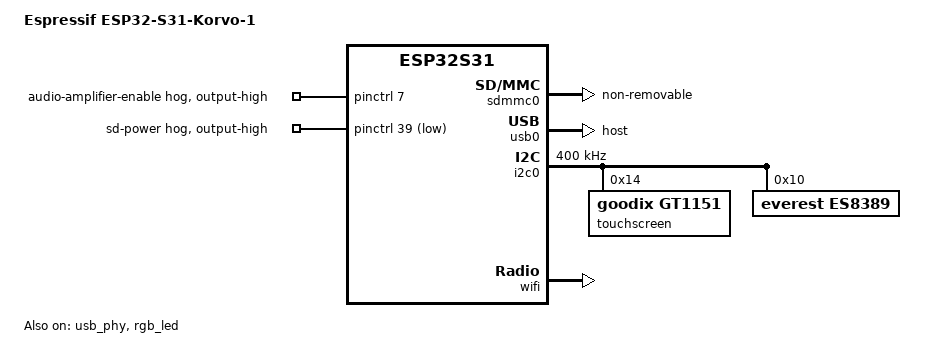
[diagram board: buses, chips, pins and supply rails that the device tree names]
// SPDX-License-Identifier: GPL-2.0+
/*
 * ESP32-S31-Korvo-1: 800x480 RGB panel, microSD slot, USB 2.0 host port
 * and a WS2812 RGB LED.
 * Author: Marco Müller <hello@annoyedmilk.ch>
 */
/dts-v1/;
#include "esp32s31.dtsi"
#include <dt-bindings/gpio/gpio.h>

/ {
	model = "Espressif ESP32-S31-Korvo-1";
	compatible = "esp,esp32s31-korvo-1", "esp,esp32s31";

	reserved-memory {
		/* Cached LVGL DIRECT canvas. Keep the normal RAM mapping for DMA
		 * cache maintenance, but exclude these pages from the allocator.
		 */
		ppa_canvas: ppa-canvas@50db8000 {
			reg = <0x50db8000 0x0c0000>;
		};
		/* The LCD DMA reads it after the handoff, uncached (PMA). */
		fb_region: framebuffer@50f40000 {
			reg = <0x50f40000 0xc0000>;
			no-map;
		};
		lcd_descriptors: lcd-descriptors@2f079000 {
			reg = <0x2f079000 0x0c00>;
			no-map;
		};
		camera_descriptors: camera-descriptors@2f079c00 {
			reg = <0x2f079c00 0x0200>;
			no-map;
		};
		ppa_descriptors: ppa-descriptors@2f079e00 {
			reg = <0x2f079e00 0x0200>;
			no-map;
		};
	};

	ppa@20345000 {
		compatible = "espressif,esp32s31-ppa";
		reg = <0x20345000 0x1000>, <0x20346000 0x1000>;
		reg-names = "ppa", "dma2d";
		interrupt-parent = <&clic>;
		interrupts = <41 105 IRQ_TYPE_LEVEL_HIGH>;
		memory-region = <&ppa_descriptors>;
		espressif,canvas-memory = <&ppa_canvas>;
		dma-noncoherent;
	};

	chosen {
		stdout-path = "serial0:115200n8";

		/* The panel of the loader; blank with USB Serial/JTAG on. */
		framebuffer {
			status = "disabled";
			compatible = "simple-framebuffer";
			width = <800>;
			height = <480>;
			stride = <(800 * 2)>;
			format = "r5g6b5";
			memory-region = <&fb_region>;
		};
	};
};

/* No card-detect or write-protect contact, and the root is on the card. */
&sdmmc0 {
	pinctrl-names = "default";
	pinctrl-0 = <&sd_cfg>;
	non-removable;
	status = "okay";
};

/* The Type-A port: host only, with a TPS2051C switch for VBUS. */
&usb_phy { status = "okay"; };

&usb0 {
	dr_mode = "host";
	disable-over-current;
	status = "okay";
};

/* WS2812 RGB LED on GPIO37. */
&rgb_led {
	pinctrl-names = "default";
	pinctrl-0 = <&led_cfg>;
	status = "okay";
};

/* The LCD (loader), the card and LED (drivers), the flash, GPIO41, UART0. */
&pinctrl {
	gpio-reserved-ranges = <8 30>, <40 2>, <43 3>, <58 2>;
	/* The nets of the Korvo-1 user guide; the flash pins of the module. */
	gpio-line-names =
		/*  0 */ "I2C_SDA", "I2C_SCL", "I2S_MCLK", "I2S_SCLK",
		/*  4 */ "I2S_LRCLK", "I2S_SDOUT", "I2S_DSIN", "PA_CTRL",
		/*  8 */ "DB0", "DB1", "DB2", "DB3", "DB4", "DB5", "DB6",
		/* 15 */ "DB7", "DB8", "DB9", "DB10", "DB11", "SDIO_DATA0",
		/* 21 */ "SDIO_DATA1", "SDIO_DATA2", "SDIO_DATA3", "SDIO_CLK",
		/* 25 */ "SDIO_CMD", "SPICS", "SPIQ", "SPIWP", "", "SPIHD",
		/* 31 */ "SPICLK", "SPID", "DB12", "DB13", "DB14", "DB15",
		/* 37 */ "WS2812_CTRL", "LCD_CS", "SD_CTRL", "LCD_PCLK", "",
		/* 42 */ "ADC_BUTTON", "LCD_H_EN", "LCD_H_SYNC", "LCD_V_SYNC",
		/* 46 */ "CAM_D0", "CAM_D1", "CAM_D2", "CAM_D3", "CAM_D4",
		/* 51 */ "CAM_D5", "CAM_D6", "CAM_D7", "CAM_PCLK", "CAM_XCLK",
		/* 56 */ "CAM_V_SYNC", "CAM_H_SYNC", "U0TXD", "U0RXD",
		/* 60 */ "LCD_MOSI", "LCD_SCK";

	/* The ES8389 feeds the two onboard NS4150B speaker amplifiers. */
	audio-amplifier-hog {
		gpio-hog;
		gpios = <7 GPIO_ACTIVE_HIGH>;
		output-high;
		line-name = "audio-amplifier-enable";
	};

	/* GPIO39 low switches the power of the microSD slot on. */
	sd-power-hog {
		gpio-hog;
		gpios = <39 GPIO_ACTIVE_LOW>;
		output-high;
		line-name = "sd-power";
	};

	/* The SD host on its IO MUX pins, function 4 */
	sd_cfg: sd-cfg {
		sd-clk-pins {
			pinmux = <ESP32S31_IOMUX(24, 4)>;
			bias-disable;
			input-enable;
			drive-strength = <40>;
		};

		sd-cmd-data-pins {
			pinmux = <ESP32S31_IOMUX(20, 4)>,	/* D0 */
				 <ESP32S31_IOMUX(21, 4)>,	/* D1 */
				 <ESP32S31_IOMUX(22, 4)>,	/* D2 */
				 <ESP32S31_IOMUX(23, 4)>,	/* D3 */
				 <ESP32S31_IOMUX(25, 4)>;	/* CMD */
			bias-pull-up;
			input-enable;
			drive-strength = <40>;
		};
	};

	led_cfg: led-cfg {
		led-pins {
			pinmux = <ESP32S31_MATRIX_OUT(37, ESP32S31_SIG_RMT_OUT0)>;
		};
	};

	i2c0_cfg: i2c0-cfg {
		i2c0-pins {
			pinmux = <ESP32S31_MATRIX_INOUT(0, ESP32S31_SIG_I2C0_SDA)>,
				 <ESP32S31_MATRIX_INOUT(1, ESP32S31_SIG_I2C0_SCL)>;
			bias-pull-up;
			drive-open-drain;
		};
	};
};

/* ES8389 codec at 0x10, GT1151 touch at 0x14 (no INT line: polled). */
&i2c0 {
	pinctrl-names = "default";
	pinctrl-0 = <&i2c0_cfg>;
	clock-frequency = <400000>;
	status = "okay";

	touchscreen@14 {
		compatible = "goodix,gt1151";
		reg = <0x14>;
		touchscreen-size-x = <800>;
		touchscreen-size-y = <480>;
	};
};

/* Read-only squashfs and persistent UBIFS overlay, relative to the shared
 * flash MTD exported by Hart 0; these sizes match partitions-korvo1.csv. */
&wifi {
	flash {
		partitions {
			compatible = "fixed-partitions";
			#address-cells = <1>;
			#size-cells = <1>;

			partition@0 {
				label = "rootfs";
				reg = <0x0 0x007D0000>;
				read-only;
			};

			partition@7d0000 {
				label = "data";
				reg = <0x007D0000 0x00160000>;
			};
		};
	};
};

&i2s0 {
	pinctrl-0 = <&korvo_i2s_playback>;
	pinctrl-1 = <&korvo_i2s_capture>;
};

&pinctrl {
	korvo_i2s_playback: korvo-i2s-playback {
		i2s-pins {
			pinmux = <ESP32S31_MATRIX_OUT(3, 25)>,
				 <ESP32S31_MATRIX_OUT(4, 27)>,
				 <ESP32S31_MATRIX_OUT(5, 28)>;
			drive-strength = <20>;
		};
	};

	korvo_i2s_capture: korvo-i2s-capture {
		i2s-pins {
			pinmux = <ESP32S31_MATRIX_OUT(3, 25)>,
				 <ESP32S31_MATRIX_OUT(4, 27)>,
				 <ESP32S31_MATRIX_IN(6, 28)>;
			drive-strength = <20>;
			bias-pull-up;
			input-enable;
		};
	};
};





/* The schematic labels the codec's 8-bit I2C address as 0x20; Linux uses
 * the corresponding 7-bit address 0x10. The ES8389 has no reset GPIO wired. */
&i2c0 {
	es8389: codec@10 {
		compatible = "everest,es8389";
		reg = <0x10>;
		everest,mclk-src = /bits/ 8 <1>;
		#sound-dai-cells = <0>;
	};
};


/ {
	sound {
		compatible = "simple-audio-card";
		simple-audio-card,name = "Korvo-1 ES8389";
		simple-audio-card,format = "i2s";
		simple-audio-card,bitclock-master = <&sound_cpu>;
		simple-audio-card,frame-master = <&sound_cpu>;
		simple-audio-card,widgets = "Speaker", "Speaker", "Microphone", "Mic";
		simple-audio-card,routing = "Speaker", "HPOL", "Speaker", "HPOR",
					  "INPUT1", "Mic", "INPUT2", "Mic";

		sound_cpu: simple-audio-card,cpu {
			sound-dai = <&i2s0>;
		};

		simple-audio-card,codec {
			sound-dai = <&es8389>;
		};
	};

	camera {
		compatible = "espressif,korvo1-ov3660";
		/* Camera-only registers and AXI GDMA RX1; LCD TX0 is untouched. */
		reg = <0x20396004 0x0c>, <0x20348068 0x68>, <0x20587158 0x04>;
		i2c-bus = <&i2c0>;
		memory-region = <&camera_descriptors>;
		pinctrl-names = "default";
		pinctrl-0 = <&korvo_camera_pins>;
	};

	display@20396000 {
		compatible = "espressif,esp32s31-korvo1-rgb";
		reg = <0x20396000 0x44>, <0x20348138 0x68>, <0x20587000 0x160>;
		memory-region = <&fb_region>, <&lcd_descriptors>;
		enable-gpios = <&pinctrl 38 GPIO_ACTIVE_HIGH>;
		pinctrl-names = "default";
		pinctrl-0 = <&korvo_lcd_pins>;
	};
};

&pinctrl {
	korvo_lcd_pins: korvo-lcd-pins {
		lcd-rgb-pins {
			pinmux = <ESP32S31_MATRIX_OUT(8, 154)>, <ESP32S31_MATRIX_OUT(9, 155)>,
				 <ESP32S31_MATRIX_OUT(10, 156)>, <ESP32S31_MATRIX_OUT(11, 157)>,
				 <ESP32S31_MATRIX_OUT(12, 158)>, <ESP32S31_MATRIX_OUT(13, 159)>,
				 <ESP32S31_MATRIX_OUT(14, 160)>, <ESP32S31_MATRIX_OUT(15, 161)>,
				 <ESP32S31_MATRIX_OUT(16, 162)>, <ESP32S31_MATRIX_OUT(17, 163)>,
				 <ESP32S31_MATRIX_OUT(18, 164)>, <ESP32S31_MATRIX_OUT(19, 165)>,
				 <ESP32S31_MATRIX_OUT(33, 166)>, <ESP32S31_MATRIX_OUT(34, 167)>,
				 <ESP32S31_MATRIX_OUT(35, 168)>, <ESP32S31_MATRIX_OUT(36, 169)>,
				 <ESP32S31_MATRIX_OUT(40, 149)>, <ESP32S31_MATRIX_OUT(43, 151)>,
				 <ESP32S31_MATRIX_OUT(44, 152)>, <ESP32S31_MATRIX_OUT(45, 153)>;
			drive-strength = <20>;
			bias-disable;
		};
	};
	korvo_camera_pins: korvo-camera-pins {
		camera-data-pins {
			pinmux = <ESP32S31_MATRIX_IN(46, 162)>,
				 <ESP32S31_MATRIX_IN(47, 163)>,
				 <ESP32S31_MATRIX_IN(48, 164)>,
				 <ESP32S31_MATRIX_IN(49, 165)>,
				 <ESP32S31_MATRIX_IN(50, 166)>,
				 <ESP32S31_MATRIX_IN(51, 167)>,
				 <ESP32S31_MATRIX_IN(52, 168)>,
				 <ESP32S31_MATRIX_IN(53, 169)>,
				 <ESP32S31_MATRIX_IN(54, 158)>,
				 <ESP32S31_MATRIX_IN(56, 161)>,
				 <ESP32S31_MATRIX_IN(57, 159)>;
			bias-disable;
			input-enable;
		};
		camera-clock-pin {
			pinmux = <ESP32S31_MATRIX_OUT(55, 150)>;
			output-enable;
			drive-strength = <20>;
		};
	};
};
